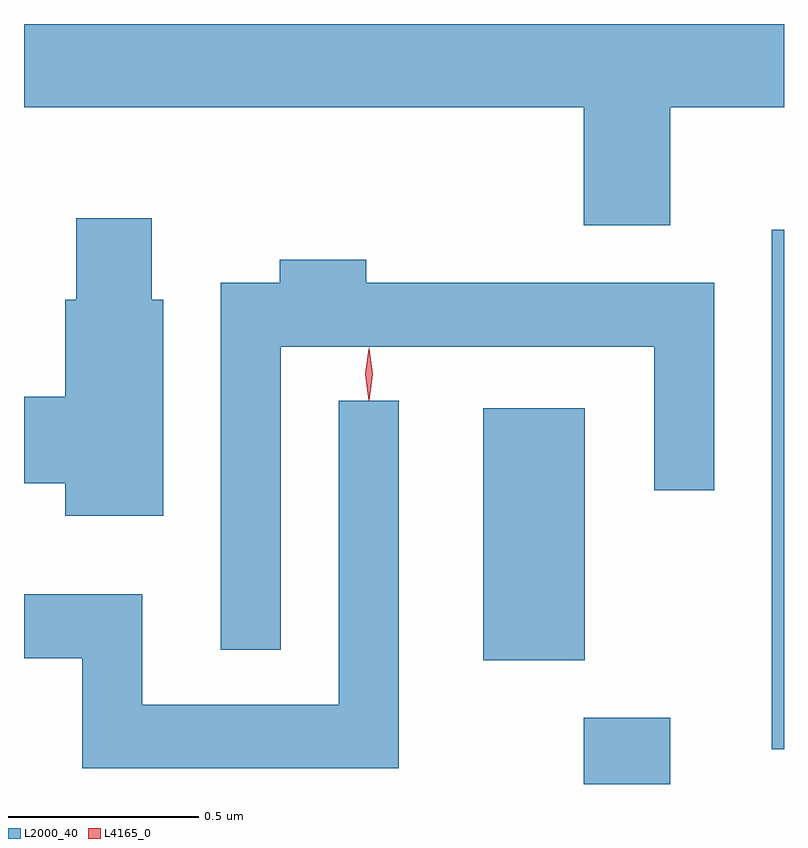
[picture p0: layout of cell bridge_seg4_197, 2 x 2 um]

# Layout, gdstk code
import gdstk
lib = gdstk.Library(unit=1e-6, precision=1e-09)
def R(c, l, rs):  # rectangles x0, y0, x1, y1
    for r in rs: c.add(gdstk.rectangle(r[:2], r[2:], *l))
def P(c, l, *ps):  # polygons
    for p in ps: c.add(gdstk.Polygon(p, *l))
L2000_40 = (2000, 40)
L4165_0 = (4165, 0)

bridge_seg4_197 = lib.new_cell('bridge_seg4_197')
R(bridge_seg4_197, L2000_40, [(1059.491,1306.275,1059.719,1306.449), (1059.986,1306.366,1060.018,1307.733), (1059.226,1306.601,1059.494,1307.264)])
P(bridge_seg4_197, L2000_40, [(1059.719,1308.056),(1060.018,1308.056),(1060.018,1308.275),(1058.018,1308.275),(1058.018,1308.056),(1059.491,1308.056),(1059.491,1307.746),(1059.719,1307.746)],
  [(1058.384,1307.549),(1058.354,1307.549),(1058.354,1307.764),(1058.156,1307.764),(1058.156,1307.549),(1058.126,1307.549),(1058.126,1307.294),(1058.018,1307.294),(1058.018,1307.066),(1058.126,1307.066),(1058.126,1306.981),(1058.384,1306.981)],
  [(1058.694,1307.426),(1059.676,1307.426),(1059.676,1307.048),(1059.834,1307.048),(1059.834,1307.594),(1058.919,1307.594),(1058.919,1307.654),(1058.691,1307.654),(1058.691,1307.594),(1058.536,1307.594),(1058.536,1306.628),(1058.694,1306.628)],
  [(1059.004,1307.283),(1058.846,1307.283),(1058.846,1306.484),(1058.329,1306.484),(1058.329,1306.774),(1058.018,1306.774),(1058.018,1306.606),(1058.171,1306.606),(1058.171,1306.316),(1059.004,1306.316)])
P(bridge_seg4_197, L4165_0, [(1058.925,1307.284),(1058.916,1307.353),(1058.926,1307.422),(1058.926,1307.423),(1058.927,1307.422),(1058.936,1307.353),(1058.926,1307.284),(1058.926,1307.284)],
  [(1058.926,1307.287),(1058.925,1307.288),(1058.916,1307.354),(1058.925,1307.42),(1058.926,1307.421),(1058.926,1307.42),(1058.936,1307.354),(1058.926,1307.288)])

lib.write_gds('bridge_seg4_197.gds')
